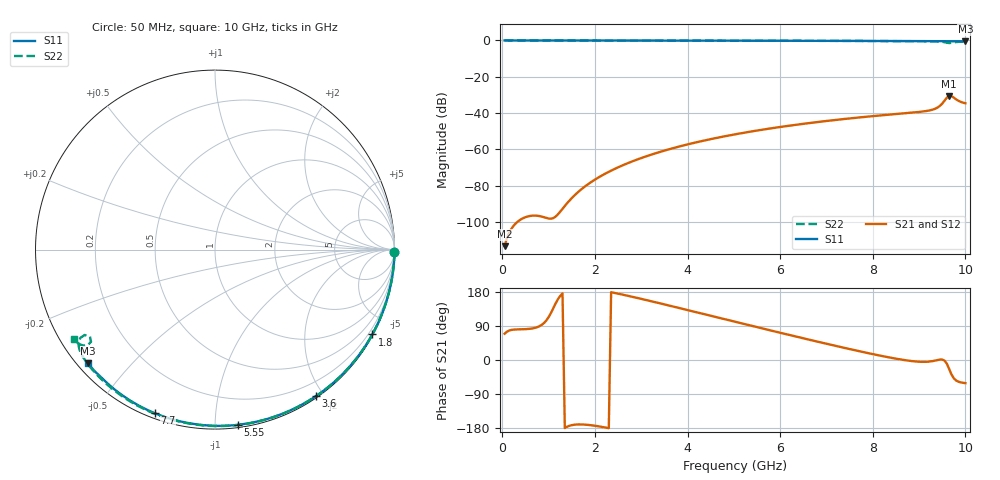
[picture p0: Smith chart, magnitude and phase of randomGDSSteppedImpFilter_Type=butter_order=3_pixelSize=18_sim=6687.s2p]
! freq	dB(S11)	phase(S11)	dB(S12)	phase(S12)
!  dB(S21)	phase(S21)	dB(S22)	phase(S22)
!S-par simulation data
#  GHz  S  DB  R 50
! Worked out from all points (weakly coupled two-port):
!   200 points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, 50 MHz to 10 GHz, reference 50 ohm
!   highest |S21| = -30.51 dB at 9.65 GHz (marker M1); lowest = -113.3 dB at 50 MHz (marker M2)
!   lowest |S11| = -0.5 dB at 10 GHz (marker M3), VSWR 38.01, Z = 1.51 - j19.1 ohm
!   |S11| at or under -10 dB: nowhere
!   |S22| runs from -1.4 to 0.0 dB; largest |S21 - S12| = 0
!   S11 on the Smith chart (normalised r, x): 50 MHz: open; 1.8 GHz: 0.03, -3.96; 3.6 GHz: 0.02, -1.91; 5.55 GHz: 0.02, -1.14; 7.7 GHz: 0.02, -0.70; 10 GHz: 0.03, -0.38
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0.05  -0.00 -0.8  -113.31 69.4  -113.31 69.4  -0.00 -0.9
0.9  -0.02 -14.3  -97.37 97.5  -97.37 97.5  -0.02 -15.5
1.75  -0.04 -27.6  -81.11 -170.3  -81.11 -170.3  -0.04 -29.9
1.8  -0.04 -28.3  -80.13 -170.7  -80.13 -170.7  -0.04 -30.7
2.15  -0.04 -33.7  -74.39 -176.5  -74.39 -176.5  -0.05 -36.6
2.5  -0.05 -39.0  -69.89 175.1  -69.89 175.1  -0.05 -42.3
3.4  -0.07 -52.4  -61.43 149.7  -61.43 149.7  -0.08 -56.8
3.6  -0.07 -55.3  -59.94 143.8  -59.94 143.8  -0.08 -59.9
4.3  -0.09 -65.4  -55.46 122.8  -55.46 122.8  -0.10 -70.7
5.05  -0.12 -75.8  -51.60 100.2  -51.60 100.2  -0.13 -81.9
5.55  -0.14 -82.5  -49.41 85.3  -49.41 85.3  -0.15 -89.2
6.7  -0.19 -97.6  -45.27 51.5  -45.27 51.5  -0.21 -105.5
7.7  -0.25 -110.2  -42.43 23.4  -42.43 23.4  -0.27 -119.1
8.35  -0.30 -118.2  -40.87 6.9  -40.87 6.9  -0.33 -128.0
9.05  -0.37 -126.7  -39.24 -4.8  -39.24 -4.8  -0.41 -137.8
9.3  -0.40 -129.7  -38.05 -2.8  -38.05 -2.8  -0.49 -141.9
9.45  -0.42 -131.4  -36.02 1.2  -36.02 1.2  -0.63 -144.8
9.6  -0.42 -133.1  -31.53 -9.8  -31.53 -9.8  -1.23 -146.8
9.65  -0.42 -133.7  -30.51 -23.7  -30.51 -23.7  -1.43 -145.2
9.7  -0.41 -134.4  -30.65 -38.2  -30.65 -38.2  -1.30 -143.4
9.8  -0.43 -135.7  -32.45 -54.1  -32.45 -54.1  -0.87 -143.8
10  -0.46 -138.1  -34.60 -61.1  -34.60 -61.1  -0.62 -147.5
